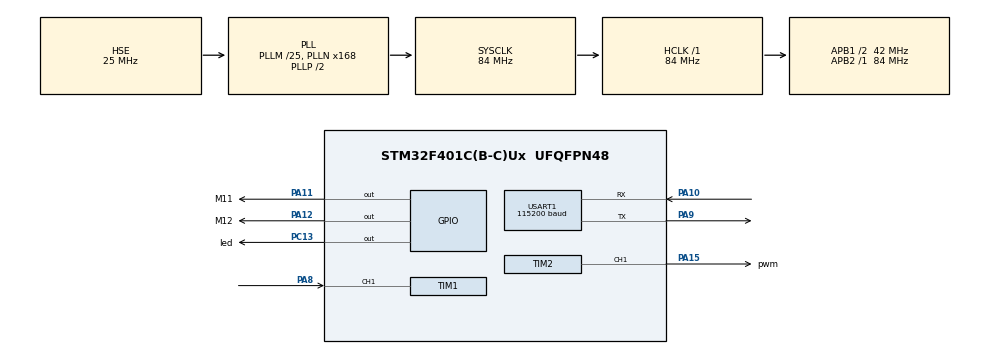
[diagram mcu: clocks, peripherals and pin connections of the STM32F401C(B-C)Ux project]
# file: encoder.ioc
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Dma.Request0=USART1_RX
Dma.USART1_RX.0.Direction=DMA_PERIPH_TO_MEMORY
Dma.USART1_RX.0.FIFOMode=DMA_FIFOMODE_DISABLE
Dma.USART1_RX.0.Instance=DMA2_Stream2
Dma.USART1_RX.0.MemDataAlignment=DMA_MDATAALIGN_BYTE
Dma.USART1_RX.0.MemInc=DMA_MINC_ENABLE
Dma.USART1_RX.0.Mode=DMA_NORMAL
Dma.USART1_RX.0.PeriphDataAlignment=DMA_PDATAALIGN_BYTE
Dma.USART1_RX.0.PeriphInc=DMA_PINC_DISABLE
Dma.USART1_RX.0.Priority=DMA_PRIORITY_LOW
Mcu.Family=STM32F4
Mcu.Name=STM32F401C(B-C)Ux
Mcu.Package=UFQFPN48
NVIC.DMA2_Stream2_IRQn=true\:0\:0\:false\:false\:true\:false\:true\:true
NVIC.PriorityGroup=NVIC_PRIORITYGROUP_4
NVIC.TIM1_CC_IRQn=true\:0\:0\:false\:false\:true\:true\:true\:true
NVIC.USART1_IRQn=true\:0\:0\:false\:false\:true\:true\:true\:true
PA10.Mode=Asynchronous
PA10.Signal=USART1_RX
PA11.GPIO_Label=M11
PA11.Signal=GPIO_Output
PA12.GPIO_Label=M12
PA12.Signal=GPIO_Output
PA15.GPIO_Label=pwm
PA15.Signal=S_TIM2_CH1_ETR
PA8.GPIO_PuPd=GPIO_PULLDOWN
PA8.GPIO_Speed=GPIO_SPEED_FREQ_VERY_HIGH
PA8.Signal=S_TIM1_CH1
PA9.Mode=Asynchronous
PA9.Signal=USART1_TX
PC13-ANTI_TAMP.GPIO_Label=led
PC13-ANTI_TAMP.Signal=GPIO_Output
PH0\ -\ OSC_IN.Mode=HSE-External-Oscillator
PH0\ -\ OSC_IN.Signal=RCC_OSC_IN
PH1\ -\ OSC_OUT.Mode=HSE-External-Oscillator
PH1\ -\ OSC_OUT.Signal=RCC_OSC_OUT
ProjectManager.HeapSize=0x200
ProjectManager.StackSize=0x400
ProjectManager.TargetToolchain=STM32CubeIDE
RCC.48MHZClocksFreq_Value=42000000
RCC.AHBFreq_Value=84000000
RCC.APB1CLKDivider=RCC_HCLK_DIV2
RCC.APB1Freq_Value=42000000
RCC.APB1TimFreq_Value=84000000
RCC.APB2Freq_Value=84000000
RCC.APB2TimFreq_Value=84000000
RCC.CortexFreq_Value=84000000
RCC.HCLKFreq_Value=84000000
RCC.HSE_VALUE=25000000
RCC.HSI_VALUE=16000000
RCC.LSE_VALUE=32768
RCC.PLLM=25
RCC.PLLN=168
RCC.PLLSourceVirtual=RCC_PLLSOURCE_HSE
RCC.SYSCLKFreq_VALUE=84000000
RCC.SYSCLKSource=RCC_SYSCLKSOURCE_PLLCLK
RCC.VCOOutputFreq_Value=168000000
SH.S_TIM1_CH1.0=TIM1_CH1,Input_Capture1_from_TI1
SH.S_TIM2_CH1_ETR.0=TIM2_CH1,PWM Generation1 CH1
TIM1.AutoReloadPreload=TIM_AUTORELOAD_PRELOAD_ENABLE
TIM1.Channel-Input_Capture1_from_TI1=TIM_CHANNEL_1
TIM1.Prescaler=84-1
TIM2.Channel-PWM\ Generation1\ CH1=TIM_CHANNEL_1
TIM2.Period=5000
TIM2.Prescaler=84-1
TIM5.AutoReloadPreload=TIM_AUTORELOAD_PRELOAD_ENABLE
TIM5.Prescaler=84-1
USART1.BaudRate=115200
USART1.VirtualMode=VM_ASYNC
VP_TIM1_VS_ClockSourceINT.Mode=Internal
VP_TIM2_VS_ClockSourceINT.Mode=Internal
VP_TIM5_VS_ClockSourceINT.Mode=Internal
board=custom

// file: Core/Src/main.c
/* USER CODE BEGIN Header */
/**
  ******************************************************************************
  * @file           : main.c
  * @brief          : Main program body
  ******************************************************************************
  * @attention
  *
  * Copyright (c) 2024 STMicroelectronics.
  * All rights reserved.
  *
  * This software is licensed under terms that can be found in the LICENSE file
  * in the root directory of this software component.
  * If no LICENSE file comes with this software, it is provided AS-IS.
  *
  ******************************************************************************
  */
/* USER CODE END Header */
#include "main.h"

/* USER CODE BEGIN Includes */
#include "uart.h"
#include "Frecuencia.h"
#include "PWM.h"
#include "uart_int_idle_dma.h"
#include "delays.h"

#include "stdio.h"
#include "stdlib.h"
#include "stdint.h"
#include "string.h"

/* USER CODE END Includes */

TIM_HandleTypeDef htim1;
TIM_HandleTypeDef htim2;
TIM_HandleTypeDef htim5;

UART_HandleTypeDef huart1;
DMA_HandleTypeDef hdma_usart1_rx;

/* USER CODE BEGIN PV */
char texto[100];
extern uint32_t frecmuestreo ;
extern uint32_t frec1;
float frecuencia1;

uint16_t  salida_pwm;

uint8_t trama_rx[trama_size];
char flag_rx=0;
uint16_t num_datos;

#define buffer_size 5000
float buffer[buffer_size];

/* USER CODE END PV */

void SystemClock_Config(void);
static void MX_GPIO_Init(void);
static void MX_DMA_Init(void);
static void MX_TIM1_Init(void);
static void MX_USART1_UART_Init(void);
static void MX_TIM2_Init(void);
static void MX_TIM5_Init(void);

/* USER CODE BEGIN 0 */
void motorstop()
{
HAL_GPIO_WritePin(M11_GPIO_Port, M11_Pin, 0);
HAL_GPIO_WritePin(M12_GPIO_Port, M12_Pin, 0);
pwm_valor(&PWM1, 0);
}

void motorset(float velo)
{
	HAL_GPIO_WritePin(M11_GPIO_Port, M11_Pin, 1);
	HAL_GPIO_WritePin(M12_GPIO_Port, M12_Pin, 0);
	pwm_valor(&PWM1, velo);

}

/* USER CODE END 0 */

int main(void)
{

  /* MCU Configuration--------------------------------------------------------*/

  /* Reset of all peripherals, Initializes the Flash interface and the Systick. */
  HAL_Init();

  /* Configure the system clock */
  SystemClock_Config();

  /* Initialize all configured peripherals */
  MX_GPIO_Init();
  MX_DMA_Init();
  MX_TIM1_Init();
  MX_USART1_UART_Init();
  MX_TIM2_Init();
  MX_TIM5_Init();
  /* USER CODE BEGIN 2 */
   Frec1_Init();
   PWM_init(&PWMT, PWM1_CH); //INICIA DEL TIMER1 EL CANALPWM1
   uartdat_it_idle_dma_init();

//   motorset(2500);
   sprintf(texto,"frec_muestreo=%lu \r\n",frecmuestreo);

   uartx_write_text(&huart1, texto);
//HAL_Delay(4000);
motorstop();

  delay_Init();

  while (flag_rx==0); // espera orden de inicio
  //decodifica orden
  salida_pwm=atoi(trama_rx);//pasa a numero el pwm recibido
  //setpoint
  motorset(salida_pwm);//coloca la señal al motor

  //muestrea la informacion y la almacena
  for (uint32_t i=0;i<buffer_size;i++)
  {
  	  led_GPIO_Port->ODR ^=led_Pin;// nivel registro
  	  frecuencia1=frecmuestreo/frec1;
  	  buffer[i]=frecuencia1;
      delay_us(500);
  }

  motorstop();

  //envia por el puerto serial
  //HAL_UART_Transmit_DMA(&huart1, &buffer, buffer_size*4);
  for (uint32_t i=0;i<buffer_size;i++)
  {
  	sprintf(texto,"D=%.2f*",buffer[i]);
      uartx_write_text(&huart1, texto);
      delay_ms(1);

  }

  /* USER CODE END 2 */

  /* Infinite loop */
  /* USER CODE BEGIN WHILE */
  while (1)
  {/*
	  if(flag_rx==1)
	       {
			 // procesarx();
		  //  uartx_write_text(&huart1, trama_rx);

		    salida_pwm=atoi(trama_rx);//pasa a numero el pwm recibido
			    motorset(salida_pwm);//coloca la señal al motor

		  flag_rx=0;
			 uartdat_it_idle_dma_init();
			 }

//	HAL_GPIO_TogglePin(led_GPIO_Port, led_Pin);
	   led_GPIO_Port->ODR ^=led_Pin;

	  frecuencia1=frecmuestreo/frec1;

	   //limpia las frecuecnia usadas;
	   frec1=0;
	 // sprintf(texto,"RPM=%.1f\r\n",frecuencia1);
	 // uartx_write_text(&huart1, texto);
	  delay_us(100);

*/

    /* USER CODE END WHILE */

  }
}

void SystemClock_Config(void)
{
  RCC_OscInitTypeDef RCC_OscInitStruct = {0};
  RCC_ClkInitTypeDef RCC_ClkInitStruct = {0};

  /** Configure the main internal regulator output voltage
  */
  __HAL_RCC_PWR_CLK_ENABLE();
  __HAL_PWR_VOLTAGESCALING_CONFIG(PWR_REGULATOR_VOLTAGE_SCALE2);

  /** Initializes the RCC Oscillators according to the specified parameters
  * in the RCC_OscInitTypeDef structure.
  */
  RCC_OscInitStruct.OscillatorType = RCC_OSCILLATORTYPE_HSE;
  RCC_OscInitStruct.HSEState = RCC_HSE_ON;
  RCC_OscInitStruct.PLL.PLLState = RCC_PLL_ON;
  RCC_OscInitStruct.PLL.PLLSource = RCC_PLLSOURCE_HSE;
  RCC_OscInitStruct.PLL.PLLM = 25;
  RCC_OscInitStruct.PLL.PLLN = 168;
  RCC_OscInitStruct.PLL.PLLP = RCC_PLLP_DIV2;
  RCC_OscInitStruct.PLL.PLLQ = 4;
  if (HAL_RCC_OscConfig(&RCC_OscInitStruct) != HAL_OK)
  {
    Error_Handler();
  }

  /** Initializes the CPU, AHB and APB buses clocks
  */
  RCC_ClkInitStruct.ClockType = RCC_CLOCKTYPE_HCLK|RCC_CLOCKTYPE_SYSCLK
                              |RCC_CLOCKTYPE_PCLK1|RCC_CLOCKTYPE_PCLK2;
  RCC_ClkInitStruct.SYSCLKSource = RCC_SYSCLKSOURCE_PLLCLK;
  RCC_ClkInitStruct.AHBCLKDivider = RCC_SYSCLK_DIV1;
  RCC_ClkInitStruct.APB1CLKDivider = RCC_HCLK_DIV2;
  RCC_ClkInitStruct.APB2CLKDivider = RCC_HCLK_DIV1;

  if (HAL_RCC_ClockConfig(&RCC_ClkInitStruct, FLASH_LATENCY_2) != HAL_OK)
  {
    Error_Handler();
  }
}

static void MX_TIM1_Init(void)
{

  TIM_ClockConfigTypeDef sClockSourceConfig = {0};
  TIM_MasterConfigTypeDef sMasterConfig = {0};
  TIM_IC_InitTypeDef sConfigIC = {0};

  htim1.Instance = TIM1;
  htim1.Init.Prescaler = 84-1;
  htim1.Init.CounterMode = TIM_COUNTERMODE_UP;
  htim1.Init.Period = 65535;
  htim1.Init.ClockDivision = TIM_CLOCKDIVISION_DIV1;
  htim1.Init.RepetitionCounter = 0;
  htim1.Init.AutoReloadPreload = TIM_AUTORELOAD_PRELOAD_ENABLE;
  if (HAL_TIM_Base_Init(&htim1) != HAL_OK)
  {
    Error_Handler();
  }
  sClockSourceConfig.ClockSource = TIM_CLOCKSOURCE_INTERNAL;
  if (HAL_TIM_ConfigClockSource(&htim1, &sClockSourceConfig) != HAL_OK)
  {
    Error_Handler();
  }
  if (HAL_TIM_IC_Init(&htim1) != HAL_OK)
  {
    Error_Handler();
  }
  sMasterConfig.MasterOutputTrigger = TIM_TRGO_RESET;
  sMasterConfig.MasterSlaveMode = TIM_MASTERSLAVEMODE_DISABLE;
  if (HAL_TIMEx_MasterConfigSynchronization(&htim1, &sMasterConfig) != HAL_OK)
  {
    Error_Handler();
  }
  sConfigIC.ICPolarity = TIM_INPUTCHANNELPOLARITY_RISING;
  sConfigIC.ICSelection = TIM_ICSELECTION_DIRECTTI;
  sConfigIC.ICPrescaler = TIM_ICPSC_DIV1;
  sConfigIC.ICFilter = 0;
  if (HAL_TIM_IC_ConfigChannel(&htim1, &sConfigIC, TIM_CHANNEL_1) != HAL_OK)
  {
    Error_Handler();
  }

}

static void MX_TIM2_Init(void)
{

  TIM_ClockConfigTypeDef sClockSourceConfig = {0};
  TIM_MasterConfigTypeDef sMasterConfig = {0};
  TIM_OC_InitTypeDef sConfigOC = {0};

  htim2.Instance = TIM2;
  htim2.Init.Prescaler = 84-1;
  htim2.Init.CounterMode = TIM_COUNTERMODE_UP;
  htim2.Init.Period = 5000;
  htim2.Init.ClockDivision = TIM_CLOCKDIVISION_DIV1;
  htim2.Init.AutoReloadPreload = TIM_AUTORELOAD_PRELOAD_DISABLE;
  if (HAL_TIM_Base_Init(&htim2) != HAL_OK)
  {
    Error_Handler();
  }
  sClockSourceConfig.ClockSource = TIM_CLOCKSOURCE_INTERNAL;
  if (HAL_TIM_ConfigClockSource(&htim2, &sClockSourceConfig) != HAL_OK)
  {
    Error_Handler();
  }
  if (HAL_TIM_PWM_Init(&htim2) != HAL_OK)
  {
    Error_Handler();
  }
  sMasterConfig.MasterOutputTrigger = TIM_TRGO_RESET;
  sMasterConfig.MasterSlaveMode = TIM_MASTERSLAVEMODE_DISABLE;
  if (HAL_TIMEx_MasterConfigSynchronization(&htim2, &sMasterConfig) != HAL_OK)
  {
    Error_Handler();
  }
  sConfigOC.OCMode = TIM_OCMODE_PWM1;
  sConfigOC.Pulse = 0;
  sConfigOC.OCPolarity = TIM_OCPOLARITY_HIGH;
  sConfigOC.OCFastMode = TIM_OCFAST_DISABLE;
  if (HAL_TIM_PWM_ConfigChannel(&htim2, &sConfigOC, TIM_CHANNEL_1) != HAL_OK)
  {
    Error_Handler();
  }
  HAL_TIM_MspPostInit(&htim2);

}

static void MX_TIM5_Init(void)
{

  TIM_ClockConfigTypeDef sClockSourceConfig = {0};
  TIM_MasterConfigTypeDef sMasterConfig = {0};

  htim5.Instance = TIM5;
  htim5.Init.Prescaler = 84-1;
  htim5.Init.CounterMode = TIM_COUNTERMODE_UP;
  htim5.Init.Period = 4294967295;
  htim5.Init.ClockDivision = TIM_CLOCKDIVISION_DIV1;
  htim5.Init.AutoReloadPreload = TIM_AUTORELOAD_PRELOAD_ENABLE;
  if (HAL_TIM_Base_Init(&htim5) != HAL_OK)
  {
    Error_Handler();
  }
  sClockSourceConfig.ClockSource = TIM_CLOCKSOURCE_INTERNAL;
  if (HAL_TIM_ConfigClockSource(&htim5, &sClockSourceConfig) != HAL_OK)
  {
    Error_Handler();
  }
  sMasterConfig.MasterOutputTrigger = TIM_TRGO_RESET;
  sMasterConfig.MasterSlaveMode = TIM_MASTERSLAVEMODE_DISABLE;
  if (HAL_TIMEx_MasterConfigSynchronization(&htim5, &sMasterConfig) != HAL_OK)
  {
    Error_Handler();
  }

}

static void MX_USART1_UART_Init(void)
{

  huart1.Instance = USART1;
  huart1.Init.BaudRate = 115200;
  huart1.Init.WordLength = UART_WORDLENGTH_8B;
  huart1.Init.StopBits = UART_STOPBITS_1;
  huart1.Init.Parity = UART_PARITY_NONE;
  huart1.Init.Mode = UART_MODE_TX_RX;
  huart1.Init.HwFlowCtl = UART_HWCONTROL_NONE;
  huart1.Init.OverSampling = UART_OVERSAMPLING_16;
  if (HAL_UART_Init(&huart1) != HAL_OK)
  {
    Error_Handler();
  }

}

static void MX_DMA_Init(void)
{

  /* DMA controller clock enable */
  __HAL_RCC_DMA2_CLK_ENABLE();

  /* DMA interrupt init */
  /* DMA2_Stream2_IRQn interrupt configuration */
  HAL_NVIC_SetPriority(DMA2_Stream2_IRQn, 0, 0);
  HAL_NVIC_EnableIRQ(DMA2_Stream2_IRQn);

}

static void MX_GPIO_Init(void)
{
  GPIO_InitTypeDef GPIO_InitStruct = {0};

  /* GPIO Ports Clock Enable */
  __HAL_RCC_GPIOC_CLK_ENABLE();
  __HAL_RCC_GPIOH_CLK_ENABLE();
  __HAL_RCC_GPIOA_CLK_ENABLE();

  /*Configure GPIO pin Output Level */
  HAL_GPIO_WritePin(led_GPIO_Port, led_Pin, GPIO_PIN_RESET);

  /*Configure GPIO pin Output Level */
  HAL_GPIO_WritePin(GPIOA, M11_Pin|M12_Pin, GPIO_PIN_RESET);

  /*Configure GPIO pin : led_Pin */
  GPIO_InitStruct.Pin = led_Pin;
  GPIO_InitStruct.Mode = GPIO_MODE_OUTPUT_PP;
  GPIO_InitStruct.Pull = GPIO_NOPULL;
  GPIO_InitStruct.Speed = GPIO_SPEED_FREQ_LOW;
  HAL_GPIO_Init(led_GPIO_Port, &GPIO_InitStruct);

  /*Configure GPIO pins : M11_Pin M12_Pin */
  GPIO_InitStruct.Pin = M11_Pin|M12_Pin;
  GPIO_InitStruct.Mode = GPIO_MODE_OUTPUT_PP;
  GPIO_InitStruct.Pull = GPIO_NOPULL;
  GPIO_InitStruct.Speed = GPIO_SPEED_FREQ_LOW;
  HAL_GPIO_Init(GPIOA, &GPIO_InitStruct);

}

void Error_Handler(void)
{
  __disable_irq();
  while (1)
  {
  }
}
